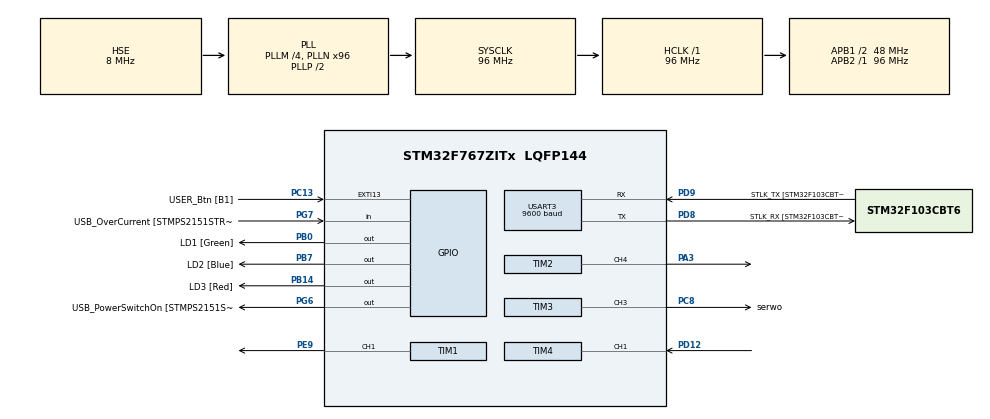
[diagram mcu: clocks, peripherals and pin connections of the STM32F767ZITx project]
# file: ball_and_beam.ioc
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Mcu.Family=STM32F7
Mcu.Name=STM32F767ZITx
Mcu.Package=LQFP144
NVIC.PriorityGroup=NVIC_PRIORITYGROUP_4
NVIC.TIM1_CC_IRQn=true\:0\:0\:false\:false\:true\:true\:true\:true
NVIC.TIM4_IRQn=true\:0\:0\:false\:false\:true\:true\:true\:true
NVIC.USART3_IRQn=true\:0\:0\:false\:false\:true\:true\:true\:true
PA1.GPIO_Label=RMII_REF_CLK [LAN8742A-CZ-TR_REFCLK0]
PA1.Signal=ETH_REF_CLK
PA10.GPIO_Label=USB_ID
PA10.Signal=USB_OTG_FS_ID
PA11.GPIO_Label=USB_DM
PA11.Signal=USB_OTG_FS_DM
PA12.GPIO_Label=USB_DP
PA12.Signal=USB_OTG_FS_DP
PA13.GPIO_Label=TMS
PA13.Mode=Serial_Wire
PA13.Signal=SYS_JTMS-SWDIO
PA14.GPIO_Label=TCK
PA14.Mode=Serial_Wire
PA14.Signal=SYS_JTCK-SWCLK
PA2.GPIO_Label=RMII_MDIO [LAN8742A-CZ-TR_MDIO]
PA2.Signal=ETH_MDIO
PA3.Signal=S_TIM2_CH4
PA7.GPIO_Label=RMII_CRS_DV [LAN8742A-CZ-TR_CRS_DV]
PA7.Signal=ETH_CRS_DV
PA8.GPIO_Label=USB_SOF [TP1]
PA8.Signal=USB_OTG_FS_SOF
PA9.GPIO_Label=USB_VBUS
PA9.Signal=USB_OTG_FS_VBUS
PB0.GPIO_Label=LD1 [Green]
PB0.Signal=GPIO_Output
PB13.GPIO_Label=RMII_TXD1 [LAN8742A-CZ-TR_TXD1]
PB13.Signal=ETH_TXD1
PB14.GPIO_Label=LD3 [Red]
PB14.Signal=GPIO_Output
PB3.GPIO_Label=SWO
PB3.Signal=SYS_JTDO-SWO
PB7.GPIO_Label=LD2 [Blue]
PB7.Signal=GPIO_Output
PC1.GPIO_Label=RMII_MDC [LAN8742A-CZ-TR_MDC]
PC1.Signal=ETH_MDC
PC13.GPIO_Label=USER_Btn [B1]
PC13.Signal=GPXTI13
PC14/OSC32_IN.Mode=LSE-External-Oscillator
PC14/OSC32_IN.Signal=RCC_OSC32_IN
PC15/OSC32_OUT.Mode=LSE-External-Oscillator
PC15/OSC32_OUT.Signal=RCC_OSC32_OUT
PC4.GPIO_Label=RMII_RXD0 [LAN8742A-CZ-TR_RXD0]
PC4.Signal=ETH_RXD0
PC5.GPIO_Label=RMII_RXD1 [LAN8742A-CZ-TR_RXD1]
PC5.Signal=ETH_RXD1
PC8.GPIO_Label=serwo
PC8.Signal=S_TIM3_CH3
PD12.Signal=S_TIM4_CH1
PD8.GPIO_Label=STLK_RX [STM32F103CBT6_PA3]
PD8.Mode=Asynchronous
PD8.Signal=USART3_TX
PD9.GPIO_Label=STLK_TX [STM32F103CBT6_PA2]
PD9.Mode=Asynchronous
PD9.Signal=USART3_RX
PE9.Signal=S_TIM1_CH1
PG11.GPIO_Label=RMII_TX_EN [LAN8742A-CZ-TR_TXEN]
PG11.Signal=ETH_TX_EN
PG13.GPIO_Label=RMII_TXD0 [LAN8742A-CZ-TR_TXD0]
PG13.Signal=ETH_TXD0
PG6.GPIO_Label=USB_PowerSwitchOn [STMPS2151STR_EN]
PG6.Signal=GPIO_Output
PG7.GPIO_Label=USB_OverCurrent [STMPS2151STR_FAULT]
PG7.Signal=GPIO_Input
PH0/OSC_IN.GPIO_Label=MCO [STM32F103CBT6_PA8]
PH0/OSC_IN.Mode=HSE-External-Clock-Source
PH0/OSC_IN.Signal=RCC_OSC_IN
PH1/OSC_OUT.Mode=HSE-External-Clock-Source
PH1/OSC_OUT.Signal=RCC_OSC_OUT
ProjectManager.HeapSize=0x200
ProjectManager.StackSize=0x400
ProjectManager.TargetToolchain=STM32CubeIDE
RCC.48MHZClocksFreq_Value=24000000
RCC.AHBFreq_Value=96000000
RCC.APB1CLKDivider=RCC_HCLK_DIV2
RCC.APB1Freq_Value=48000000
RCC.APB1TimFreq_Value=96000000
RCC.APB2Freq_Value=96000000
RCC.APB2TimFreq_Value=96000000
RCC.CortexFreq_Value=96000000
RCC.HCLKFreq_Value=96000000
RCC.HSE_VALUE=8000000
RCC.HSI_VALUE=16000000
RCC.PLLM=4
RCC.PLLMUL=RCC_PLL_MUL9
RCC.PLLN=96
RCC.PLLQ=4
RCC.PLLSourceVirtual=RCC_PLLSOURCE_HSE
RCC.PRESCALERUSB=RCC_USBCLKSOURCE_PLL_DIV1_5
RCC.SYSCLKFreq_VALUE=96000000
RCC.SYSCLKSource=RCC_SYSCLKSOURCE_PLLCLK
RCC.SYSCLKSourceVirtual=RCC_SYSCLKSOURCE_PLLCLK
RCC.USBFreq_Value=48000000
RCC.VCOOutputFreq_Value=192000000
SH.S_TIM1_CH1.0=TIM1_CH1,PWM Generation1 CH1
SH.S_TIM2_CH4.0=TIM2_CH4,PWM Generation4 CH4
SH.S_TIM3_CH3.0=TIM3_CH3,PWM Generation3 CH3
SH.S_TIM4_CH1.0=TIM4_CH1,PWM_Input_1
TIM1.Channel-PWM\ Generation1\ CH1=TIM_CHANNEL_1
TIM1.Period=19999
TIM1.Prescaler=95
TIM2.Channel-PWM\ Generation4\ CH4=TIM_CHANNEL_4
TIM2.Period=22499
TIM2.Prescaler=95
TIM2.Pulse-PWM\ Generation4\ CH4=10
TIM3.Channel-PWM\ Generation3\ CH3=TIM_CHANNEL_3
TIM3.Period=19999
TIM3.Prescaler=95
TIM3.Pulse-PWM\ Generation3\ CH3=1500
TIM4.Prescaler=95
USART3.BaudRate=9600
USART3.VirtualMode-Asynchronous=VM_ASYNC
VP_TIM1_VS_ClockSourceINT.Mode=Internal
VP_TIM4_VS_ClockSourceINT.Mode=Internal
board=NUCLEO-F767ZI

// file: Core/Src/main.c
/* USER CODE BEGIN Header */
/**
  ******************************************************************************
  * @file           : main.c
  * @brief          : Main program body
  ******************************************************************************
  * @attention
  *
  * Copyright (c) 2024 STMicroelectronics.
  * All rights reserved.
  *
  * This software is licensed under terms that can be found in the LICENSE file
  * in the root directory of this software component.
  * If no LICENSE file comes with this software, it is provided AS-IS.
  *
  ******************************************************************************
  */
/* USER CODE END Header */
#include "main.h"
#include "tim.h"
#include "usart.h"
#include "gpio.h"

/* USER CODE BEGIN Includes */
#include "hc_sr04.h"
#include <stdlib.h>
#include "string.h"
#include "stdio.h"
#include "servo.h"
#include "pid_controller.h"
#include <math.h>
/* USER CODE END Includes */

/* USER CODE BEGIN PV */
struct us_sensor_str distance_sensor;
volatile int d = 0;
pid_str pid;
float kp = 5.2f;
float ki = 2.0f;
float kd = 12.0f;
float fs = 16;
float anti_windup_limit = 10.0f;
float y_ref = 20.0f;
float previous_distance = 5.0f;
int counter = 0;
float mean_distance = 0.0f;

uint8_t tx_buffer[4];
/* USER CODE END PV */

void SystemClock_Config(void);

/* USER CODE BEGIN 0 */

void read_distance(TIM_HandleTypeDef *htim){
	uint32_t echo_us;

	echo_us = HAL_TIM_ReadCapturedValue(htim, TIM_CHANNEL_2);
	distance_sensor.distance_cm = hc_sr04_convert_us_to_cm(echo_us);
	if (distance_sensor.distance_cm > 40 || distance_sensor.distance_cm < 4){
		distance_sensor.distance_cm = previous_distance;
			}
	previous_distance = distance_sensor.distance_cm;
}

void generate_control(){
	int u = pid_calculate(&pid, y_ref, distance_sensor.distance_cm);
	servo_set_angle(u);
}

void HAL_TIM_IC_CaptureCallback(TIM_HandleTypeDef *htim)
{
	if(TIM4 == htim->Instance)
	{
		read_distance(htim);
		generate_control();

		d = distance_sensor.distance_cm * 10;

		uint8_t tx_buffer[32];
		int tx_msg_len = sprintf((char*)tx_buffer, "%02u.%01u\r", d / 10, d % 10);
		HAL_UART_Transmit(&huart3, tx_buffer, tx_msg_len, 100);

	}
}

void HAL_UART_RxCpltCallback(UART_HandleTypeDef *huart)
{
    if(huart == &huart3)
      {

    	int value = strtol((char *)&tx_buffer[2], NULL, 10);

    	if (strncmp((char *)tx_buffer, "kp", 2) == 0){
    		kp = value;
    	}
    	if (strncmp((char *)tx_buffer, "ki", 2) == 0){
    	    		ki = value;
    	    	}
    	if (strncmp((char *)tx_buffer, "kd", 2) == 0){
    	    		kd = value;
    	    	}
    	if (strncmp((char *)tx_buffer, "yr", 2) == 0){
    		if (value > 5 && value < 25)
    	    		y_ref = value;
    	    	}

    }
    HAL_UART_Receive_IT(&huart3, tx_buffer, 4);

}

/* USER CODE END 0 */

int main(void)
{

  /* MCU Configuration--------------------------------------------------------*/

  /* Reset of all peripherals, Initializes the Flash interface and the Systick. */
  HAL_Init();

  /* Configure the system clock */
  SystemClock_Config();

  /* Initialize all configured peripherals */
  MX_GPIO_Init();
  MX_USART3_UART_Init();
  MX_TIM1_Init();
  MX_TIM2_Init();
  MX_TIM3_Init();
  MX_TIM4_Init();
  /* USER CODE BEGIN 2 */
  hc_sr04_init(&distance_sensor, &htim4, &htim2, TIM_CHANNEL_4);
  servo_init(&htim1, TIM_CHANNEL_1);
  pid_init(&pid, kp, ki, kd, fs, anti_windup_limit);
  int a = -90;
  /* USER CODE END 2 */

  /* Infinite loop */
  /* USER CODE BEGIN WHILE */
  while (1)
  {
	//servo_set_angle(a);
	//HAL_Delay(20);
	//a += 1;
	//if(a == 90){
		//	a = -90;
	//}
    /* USER CODE END WHILE */

  }
}

void SystemClock_Config(void)
{
  RCC_OscInitTypeDef RCC_OscInitStruct = {0};
  RCC_ClkInitTypeDef RCC_ClkInitStruct = {0};

  /** Configure LSE Drive Capability
  */
  HAL_PWR_EnableBkUpAccess();

  /** Configure the main internal regulator output voltage
  */
  __HAL_RCC_PWR_CLK_ENABLE();
  __HAL_PWR_VOLTAGESCALING_CONFIG(PWR_REGULATOR_VOLTAGE_SCALE3);

  /** Initializes the RCC Oscillators according to the specified parameters
  * in the RCC_OscInitTypeDef structure.
  */
  RCC_OscInitStruct.OscillatorType = RCC_OSCILLATORTYPE_HSE;
  RCC_OscInitStruct.HSEState = RCC_HSE_BYPASS;
  RCC_OscInitStruct.PLL.PLLState = RCC_PLL_ON;
  RCC_OscInitStruct.PLL.PLLSource = RCC_PLLSOURCE_HSE;
  RCC_OscInitStruct.PLL.PLLM = 4;
  RCC_OscInitStruct.PLL.PLLN = 96;
  RCC_OscInitStruct.PLL.PLLP = RCC_PLLP_DIV2;
  RCC_OscInitStruct.PLL.PLLQ = 4;
  RCC_OscInitStruct.PLL.PLLR = 2;
  if (HAL_RCC_OscConfig(&RCC_OscInitStruct) != HAL_OK)
  {
    Error_Handler();
  }

  /** Activate the Over-Drive mode
  */
  if (HAL_PWREx_EnableOverDrive() != HAL_OK)
  {
    Error_Handler();
  }

  /** Initializes the CPU, AHB and APB buses clocks
  */
  RCC_ClkInitStruct.ClockType = RCC_CLOCKTYPE_HCLK|RCC_CLOCKTYPE_SYSCLK
                              |RCC_CLOCKTYPE_PCLK1|RCC_CLOCKTYPE_PCLK2;
  RCC_ClkInitStruct.SYSCLKSource = RCC_SYSCLKSOURCE_PLLCLK;
  RCC_ClkInitStruct.AHBCLKDivider = RCC_SYSCLK_DIV1;
  RCC_ClkInitStruct.APB1CLKDivider = RCC_HCLK_DIV2;
  RCC_ClkInitStruct.APB2CLKDivider = RCC_HCLK_DIV1;

  if (HAL_RCC_ClockConfig(&RCC_ClkInitStruct, FLASH_LATENCY_3) != HAL_OK)
  {
    Error_Handler();
  }
}

void Error_Handler(void)
{
  __disable_irq();
  while (1)
  {
  }
}
